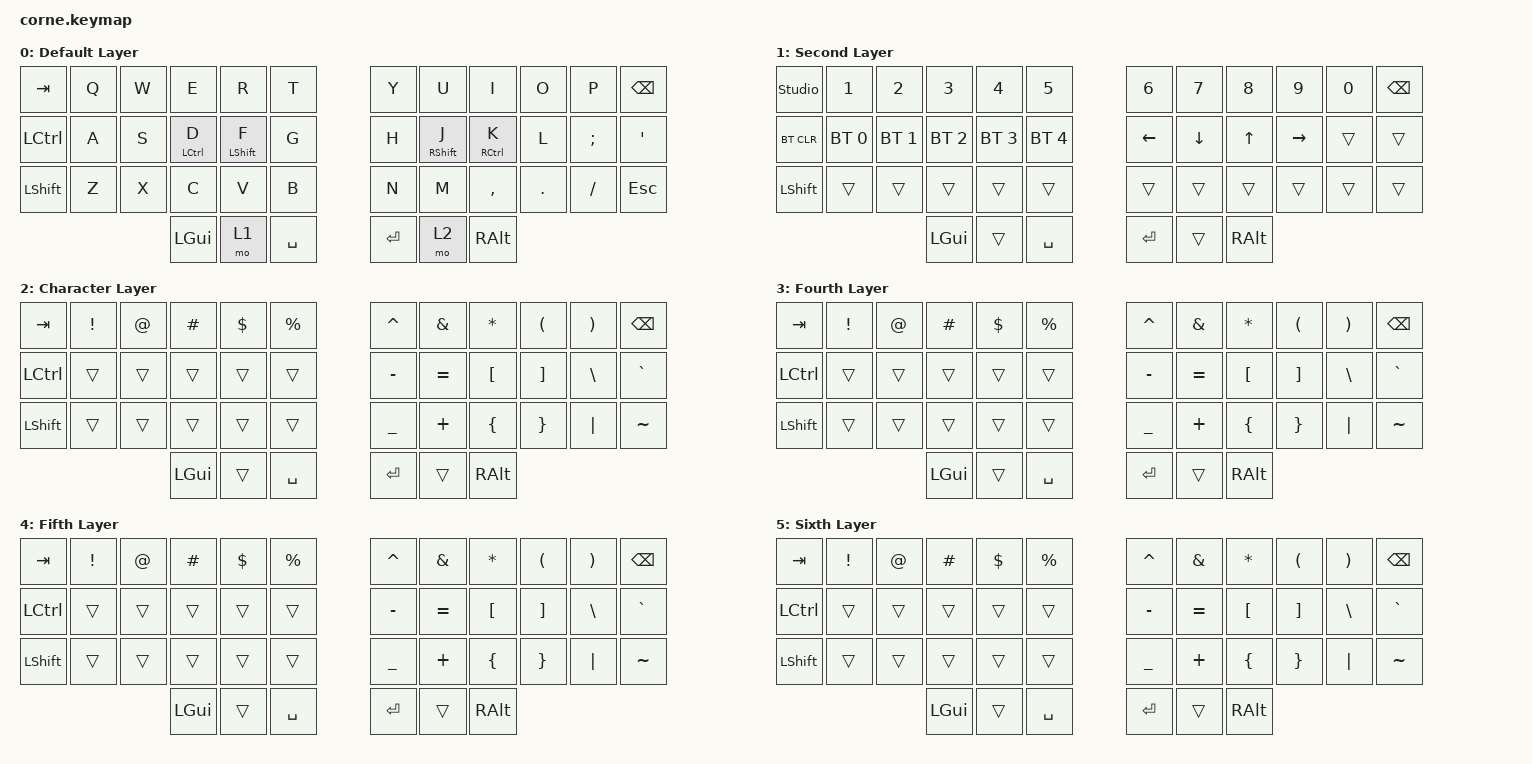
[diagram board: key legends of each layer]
/*
 * Copyright (c) 2020 The ZMK Contributors
 *
 * SPDX-License-Identifier: MIT
 */

#include <behaviors.dtsi>
#include <dt-bindings/zmk/keys.h>
#include <dt-bindings/zmk/bt.h>

/ {
        rpi: require_prior_idle {
        compatible = "zmk,behavior-hold-tap";
        #binding-cells = <2>;
        flavor = "tap-preferred";
        tapping-term-ms = <200>;
        quick-tap-ms = <200>;
        require-prior-idle-ms = <125>;
        bindings = <&kp>, <&kp>;
        };

        keymap {
                compatible = "zmk,keymap";

                default_layer {
                        display-name = "Default Layer";
// -----------------------------------------------------------------------------------------
// |  TAB |  Q  |  W  |  E  |  R  |  T  |   |  Y  |  U   |  I  |  O  |  P  | BSPC |
// | CTRL |  A  |  S  |  D  |  F  |  G  |   |  H  |  J   |  K  |  L  |  ;  |  '   |
// | SHFT |  Z  |  X  |  C  |  V  |  B  |   |  N  |  M   |  ,  |  .  |  /  | ESC  |
//                    | GUI | LWR | SPC |   | ENT | RSE  | ALT |
                        bindings = <
   &kp TAB   &kp Q &kp W &kp E &kp R &kp T   &kp Y &kp U  &kp I     &kp O   &kp P    &kp BSPC
   &kp LCTRL &kp A &kp S &rpi LCTRL D  &rpi LSHIFT F &kp G   &kp H &rpi RSHIFT J  &rpi RCTRL K     &kp L   &kp SEMI &kp SQT
   &kp LSHFT &kp Z &kp X &kp C &kp V &kp B   &kp N &kp M  &kp COMMA &kp DOT &kp FSLH &kp ESC
                  &kp LGUI &mo 1 &kp SPACE   &kp RET &mo 2 &kp RALT
                        >;
                };
                lower_layer {
                        display-name = "Second Layer";
// -----------------------------------------------------------------------------------------
// |  TAB |  1  |  2  |  3  |  4  |  5  |   |  6  |  7  |  8  |  9  |  0  | BSPC |
// | BTCLR| BT1 | BT2 | BT3 | BT4 | BT5 |   | LFT | DWN |  UP | RGT |     |      |
// | SHFT |     |     |     |     |     |   |     |     |     |     |     |      |
//                    | GUI |     | SPC |   | ENT |     | ALT |
                        bindings = <
   &studio_unlock    &kp N1       &kp N2       &kp N3       &kp N4       &kp N5         &kp N6   &kp N7   &kp N8 &kp N9    &kp N0 &kp BSPC
   &bt BT_CLR &bt BT_SEL 0 &bt BT_SEL 1 &bt BT_SEL 2 &bt BT_SEL 3 &bt BT_SEL 4   &kp LEFT &kp DOWN &kp UP &kp RIGHT &trans &trans
   &kp LSHFT  &trans       &trans       &trans       &trans       &trans         &trans   &trans   &trans &trans    &trans &trans
                                    &kp LGUI     &trans       &kp SPACE      &kp RET  &trans   &kp RALT
                        >;
                };

                raise_layer {
                        display-name = "Character Layer";
// -----------------------------------------------------------------------------------------
// |  TAB |  !  |  @  |  #  |  $  |  %  |   |  ^  |  &  |  *  |  (  |  )  | BSPC |
// | CTRL |     |     |     |     |     |   |  -  |  =  |  [  |  ]  |  \  |  `   |
// | SHFT |     |     |     |     |     |   |  _  |  +  |  {  |  }  | "|" |  ~   |
//                    | GUI |     | SPC |   | ENT |     | ALT |
                        bindings = <
   &kp  TAB  &kp EXCL &kp AT &kp HASH &kp DLLR &kp PRCNT   &kp CARET &kp AMPS  &kp ASTRK &kp LPAR &kp RPAR &kp BSPC
   &kp LCTRL &trans   &trans &trans   &trans   &trans      &kp MINUS &kp EQUAL &kp LBKT  &kp RBKT &kp BSLH &kp GRAVE
   &kp LSHFT &trans   &trans &trans   &trans   &trans      &kp UNDER &kp PLUS  &kp LBRC  &kp RBRC &kp PIPE &kp TILDE
                             &kp LGUI &trans   &kp SPACE   &kp RET   &trans    &kp RALT
                        >;
                };
                fourth_layer {
                        display-name = "Fourth Layer";
// -----------------------------------------------------------------------------------------
// |  TAB |  !  |  @  |  #  |  $  |  %  |   |  ^  |  &  |  *  |  (  |  )  | BSPC |
// | CTRL |     |     |     |     |     |   |  -  |  =  |  [  |  ]  |  \  |  `   |
// | SHFT |     |     |     |     |     |   |  _  |  +  |  {  |  }  | "|" |  ~   |
//                    | GUI |     | SPC |   | ENT |     | ALT |
                        bindings = <
   &kp  TAB  &kp EXCL &kp AT &kp HASH &kp DLLR &kp PRCNT   &kp CARET &kp AMPS  &kp ASTRK &kp LPAR &kp RPAR &kp BSPC
   &kp LCTRL &trans   &trans &trans   &trans   &trans      &kp MINUS &kp EQUAL &kp LBKT  &kp RBKT &kp BSLH &kp GRAVE
   &kp LSHFT &trans   &trans &trans   &trans   &trans      &kp UNDER &kp PLUS  &kp LBRC  &kp RBRC &kp PIPE &kp TILDE
                             &kp LGUI &trans   &kp SPACE   &kp RET   &trans    &kp RALT
                        >;
                };
                fifth_layer {
                        display-name = "Fifth Layer";
// -----------------------------------------------------------------------------------------
// |  TAB |  !  |  @  |  #  |  $  |  %  |   |  ^  |  &  |  *  |  (  |  )  | BSPC |
// | CTRL |     |     |     |     |     |   |  -  |  =  |  [  |  ]  |  \  |  `   |
// | SHFT |     |     |     |     |     |   |  _  |  +  |  {  |  }  | "|" |  ~   |
//                    | GUI |     | SPC |   | ENT |     | ALT |
                        bindings = <
   &kp  TAB  &kp EXCL &kp AT &kp HASH &kp DLLR &kp PRCNT   &kp CARET &kp AMPS  &kp ASTRK &kp LPAR &kp RPAR &kp BSPC
   &kp LCTRL &trans   &trans &trans   &trans   &trans      &kp MINUS &kp EQUAL &kp LBKT  &kp RBKT &kp BSLH &kp GRAVE
   &kp LSHFT &trans   &trans &trans   &trans   &trans      &kp UNDER &kp PLUS  &kp LBRC  &kp RBRC &kp PIPE &kp TILDE
                             &kp LGUI &trans   &kp SPACE   &kp RET   &trans    &kp RALT
                        >;
                };
                sixth_layer {
                        display-name = "Sixth Layer";
// -----------------------------------------------------------------------------------------
// |  TAB |  !  |  @  |  #  |  $  |  %  |   |  ^  |  &  |  *  |  (  |  )  | BSPC |
// | CTRL |     |     |     |     |     |   |  -  |  =  |  [  |  ]  |  \  |  `   |
// | SHFT |     |     |     |     |     |   |  _  |  +  |  {  |  }  | "|" |  ~   |
//                    | GUI |     | SPC |   | ENT |     | ALT |
                        bindings = <
   &kp  TAB  &kp EXCL &kp AT &kp HASH &kp DLLR &kp PRCNT   &kp CARET &kp AMPS  &kp ASTRK &kp LPAR &kp RPAR &kp BSPC
   &kp LCTRL &trans   &trans &trans   &trans   &trans      &kp MINUS &kp EQUAL &kp LBKT  &kp RBKT &kp BSLH &kp GRAVE
   &kp LSHFT &trans   &trans &trans   &trans   &trans      &kp UNDER &kp PLUS  &kp LBRC  &kp RBRC &kp PIPE &kp TILDE
                             &kp LGUI &trans   &kp SPACE   &kp RET   &trans    &kp RALT
                        >;
                };
        };
};
